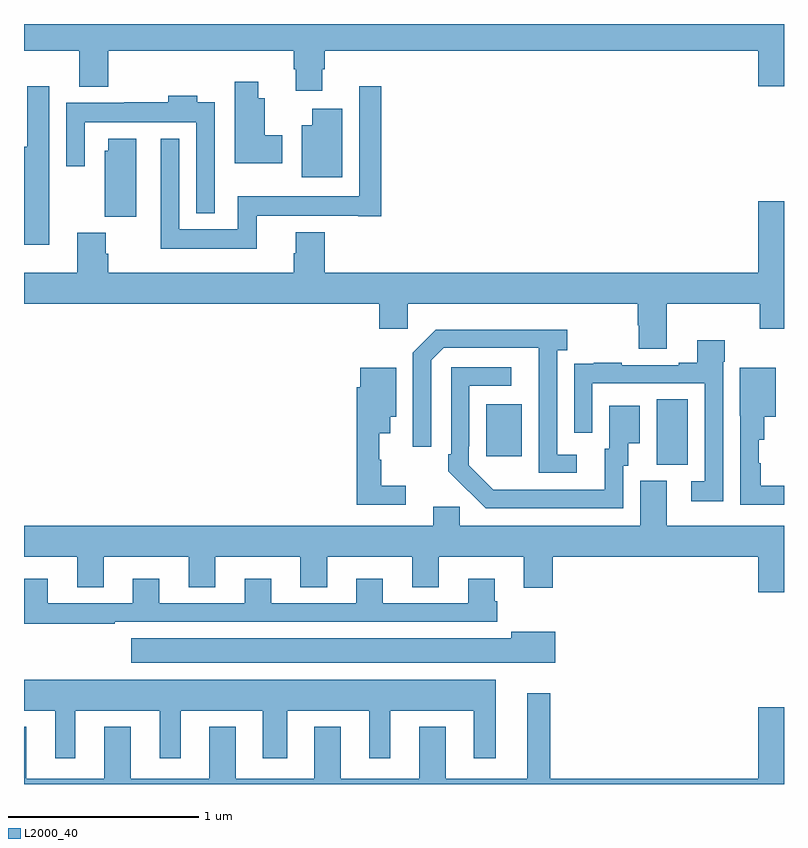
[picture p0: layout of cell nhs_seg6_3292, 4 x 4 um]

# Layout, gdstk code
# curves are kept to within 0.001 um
import gdstk
lib = gdstk.Library(unit=1e-6, precision=1e-09)
def R(c, l, rs):  # rectangles x0, y0, x1, y1
    for r in rs: c.add(gdstk.rectangle(r[:2], r[2:], *l))
def P(c, l, *ps):  # polygons
    for p in ps: c.add(gdstk.Polygon(p, *l))
L2000_40 = (2000, 40)

nhs_seg6_3292 = lib.new_cell('nhs_seg6_3292')
R(nhs_seg6_3292, L2000_40, [(308.33,921.181,308.494,921.524), (307.433,921.225,307.621,921.499)])
P(nhs_seg6_3292, L2000_40, [(306.571,923.262),(306.584,923.262),(306.584,923.36),(308.864,923.36),(308.864,923.172),(309,923.172),(309,923.5),(305,923.5),(305,923.36),(305.291,923.36),(305.291,923.171),(305.444,923.171),(305.444,923.36),(306.419,923.36),(306.419,923.262),(306.431,923.262),(306.431,923.148),(306.571,923.148)],
  [(306.358,922.914),(306.268,922.914),(306.268,923.11),(306.232,923.11),(306.232,923.197),(306.11,923.197),(306.11,922.766),(306.358,922.766)],
  [(306.224,922.49),(306.758,922.49),(306.758,922.488),(306.881,922.488),(306.881,923.173),(306.765,923.173),(306.765,922.594),(306.126,922.594),(306.126,922.42),(305.817,922.42),(305.817,922.897),(305.72,922.897),(305.72,922.316),(306.224,922.316)],
  [(305.134,922.751),(305.133,922.751),(305.133,923.173),(305.017,923.173),(305.017,922.855),(305,922.855),(305,922.338),(305.134,922.338)],
  [(306.003,923.089),(305.911,923.089),(305.911,923.122),(305.759,923.122),(305.759,923.089),(305.527,923.089),(305.527,923.086),(305.223,923.086),(305.223,922.752),(305.319,922.752),(305.319,922.982),(305.907,922.982),(305.907,922.505),(306.003,922.505)],
  [(306.676,923.053),(306.518,923.053),(306.518,922.966),(306.461,922.966),(306.461,922.694),(306.676,922.694)],
  [(305.59,922.897),(305.444,922.897),(305.444,922.833),(305.426,922.833),(305.426,922.486),(305.59,922.486)],
  [(308.383,922.028),(308.872,922.028),(308.872,921.897),(309,921.897),(309,922.567),(308.864,922.567),(308.864,922.192),(306.584,922.192),(306.584,922.405),(306.431,922.405),(306.431,922.293),(306.419,922.293),(306.419,922.192),(305.444,922.192),(305.444,922.292),(305.431,922.292),(305.431,922.401),(305.279,922.401),(305.279,922.192),(305,922.192),(305,922.028),(306.869,922.028),(306.869,921.897),(307.02,921.897),(307.02,922.028),(308.231,922.028),(308.231,921.915),(308.236,921.915),(308.236,921.79),(308.383,921.79)],
  [(307.909,921.234),(307.806,921.234),(307.806,921.782),(307.858,921.782),(307.858,921.892),(307.168,921.892),(307.047,921.771),(307.047,921.276),(307.143,921.276),(307.143,921.729),(307.209,921.795),(307.709,921.795),(307.71,921.138),(307.909,921.138)],
  [(308.679,921.722),(308.688,921.722),(308.688,921.835),(308.543,921.835),(308.543,921.718),(308.447,921.718),(308.447,921.705),(308.147,921.705),(308.147,921.718),(307.999,921.718),(307.999,921.711),(307.897,921.711),(307.897,921.602),(307.896,921.602),(307.896,921.348),(307.992,921.348),(307.992,921.609),(308.583,921.609),(308.583,921.093),(308.511,921.093),(308.511,920.988),(308.679,920.988)],
  [(308.154,921.174),(308.179,921.174),(308.179,921.293),(308.242,921.293),(308.242,921.49),(308.081,921.49),(308.081,921.264),(308.057,921.264),(308.057,921.048),(307.47,921.049),(307.341,921.177),(307.341,921.277),(307.344,921.277),(307.344,921.597),(307.564,921.597),(307.564,921.693),(307.248,921.693),(307.248,921.235),(307.233,921.235),(307.233,921.147),(307.43,920.952),(308.154,920.952)],
  [(307.009,921.071),(306.88,921.071),(306.88,921.207),(306.869,921.207),(306.869,921.347),(306.928,921.347),(306.928,921.434),(306.958,921.434),(306.958,921.691),(306.77,921.691),(306.77,921.587),(306.751,921.587),(306.751,920.97),(307.009,920.97)],
  [(309,921.069),(308.878,921.069),(308.878,921.189),(308.867,921.189),(308.867,921.311),(308.896,921.311),(308.896,921.434),(308.956,921.434),(308.956,921.691),(308.768,921.691),(308.768,921.438),(308.769,921.438),(308.769,920.97),(309,920.97)],
  [(305,920.696),(305.279,920.696),(305.279,920.536),(305.419,920.536),(305.419,920.696),(305.867,920.696),(305.867,920.536),(306.007,920.536),(306.007,920.696),(306.455,920.696),(306.455,920.536),(306.595,920.536),(306.595,920.696),(307.043,920.696),(307.043,920.536),(307.183,920.536),(307.183,920.696),(307.631,920.696),(307.631,920.532),(307.784,920.532),(307.784,920.696),(308.864,920.696),(308.864,920.508),(309,920.508),(309,920.86),(308.383,920.86),(308.383,921.096),(308.243,921.096),(308.243,920.86),(307.293,920.86),(307.293,920.958),(307.154,920.958),(307.154,920.86),(305,920.86)],
  [(305.477,920.355),(307.49,920.355),(307.49,920.463),(307.477,920.463),(307.477,920.581),(307.337,920.581),(307.337,920.451),(306.889,920.451),(306.889,920.581),(306.749,920.581),(306.749,920.451),(306.301,920.451),(306.301,920.581),(306.161,920.581),(306.161,920.451),(305.713,920.451),(305.713,920.581),(305.573,920.581),(305.573,920.451),(305.125,920.451),(305.125,920.581),(305,920.581),(305,920.343),(305.477,920.343)],
  [(307.795,920.302),(307.565,920.302),(307.565,920.266),(305.565,920.266),(305.565,920.138),(307.795,920.138)],
  [(305.269,919.886),(305.714,919.886),(305.714,919.635),(305.824,919.635),(305.824,919.886),(306.257,919.886),(306.257,919.635),(306.385,919.635),(306.385,919.886),(306.818,919.886),(306.818,919.635),(306.928,919.635),(306.928,919.886),(307.367,919.886),(307.367,919.635),(307.483,919.635),(307.483,920.05),(305,920.05),(305,919.886),(305.165,919.886),(305.165,919.635),(305.269,919.635)],
  [(309,919.903),(308.864,919.903),(308.864,919.528),(307.771,919.528),(307.771,919.978),(307.649,919.978),(307.649,919.528),(307.219,919.528),(307.219,919.801),(307.079,919.801),(307.079,919.528),(306.667,919.528),(306.667,919.801),(306.527,919.801),(306.527,919.528),(306.115,919.528),(306.115,919.801),(305.975,919.801),(305.975,919.528),(305.563,919.528),(305.563,919.801),(305.423,919.801),(305.423,919.528),(305.011,919.528),(305.011,919.801),(305,919.801),(305,919.5),(309,919.5)])

lib.write_gds('nhs_seg6_3292.gds')
